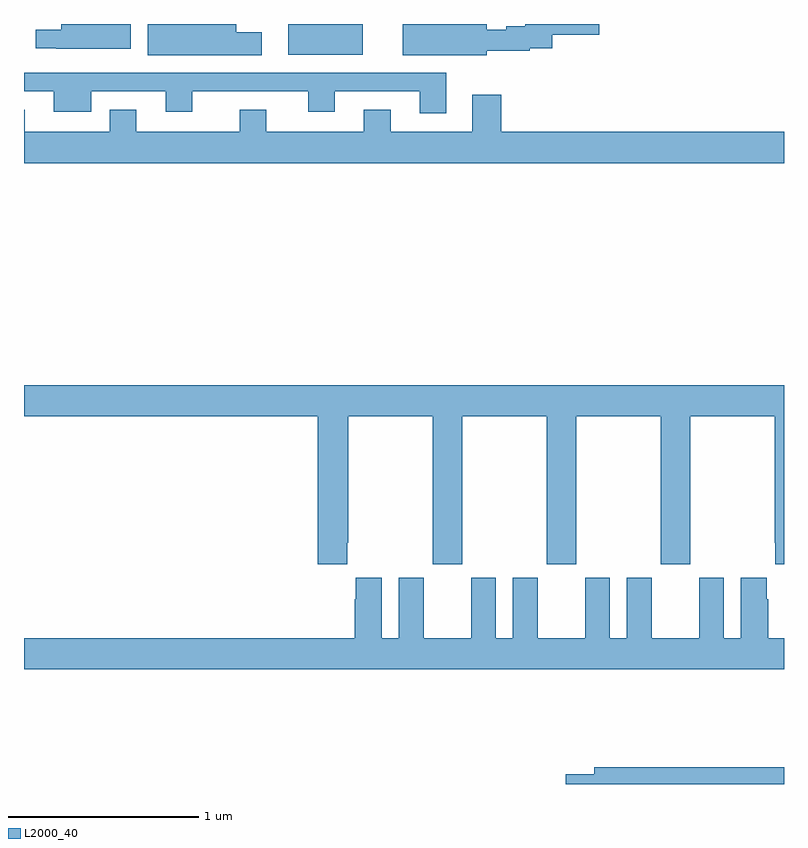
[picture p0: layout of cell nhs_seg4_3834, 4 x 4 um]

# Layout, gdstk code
import gdstk
lib = gdstk.Library(unit=1e-6, precision=1e-09)
def R(c, l, rs):  # rectangles x0, y0, x1, y1
    for r in rs: c.add(gdstk.rectangle(r[:2], r[2:], *l))
def P(c, l, *ps):  # polygons
    for p in ps: c.add(gdstk.Polygon(p, *l))
L2000_40 = (2000, 40)

nhs_seg4_3834 = lib.new_cell('nhs_seg4_3834')
R(nhs_seg4_3834, L2000_40, [(314.39,782.738,314.782,782.9)])
P(nhs_seg4_3834, L2000_40, [(314.251,782.857),(314.116,782.857),(314.116,782.9),(313.652,782.9),(313.652,782.735),(314.251,782.735)],
  [(313.561,782.9),(313.196,782.9),(313.196,782.87),(313.063,782.87),(313.063,782.773),(313.171,782.773),(313.171,782.771),(313.561,782.771)],
  [(315.436,782.76),(315.662,782.76),(315.662,782.772),(315.779,782.772),(315.779,782.843),(316.027,782.843),(316.027,782.9),(315.638,782.9),(315.638,782.888),(315.537,782.888),(315.537,782.869),(315.436,782.869),(315.436,782.9),(314.993,782.9),(314.993,782.735),(315.436,782.735)],
  [(315.223,782.643),(313,782.643),(313,782.547),(313.157,782.547),(313.157,782.438),(313.354,782.438),(313.354,782.547),(313.745,782.547),(313.745,782.438),(313.885,782.438),(313.885,782.547),(314.495,782.547),(314.495,782.438),(314.635,782.438),(314.635,782.547),(315.083,782.547),(315.083,782.43),(315.223,782.43)],
  [(317,782.332),(315.512,782.332),(315.512,782.527),(315.359,782.527),(315.359,782.332),(314.929,782.332),(314.929,782.449),(314.789,782.449),(314.789,782.332),(314.275,782.332),(314.275,782.449),(314.135,782.449),(314.135,782.332),(313.591,782.332),(313.591,782.449),(313.451,782.449),(313.451,782.332),(313.003,782.332),(313.003,782.449),(313,782.449),(313,782.168),(317,782.168)],
  [(314.701,780.169),(314.706,780.169),(314.706,780.836),(315.151,780.836),(315.151,780.057),(315.306,780.057),(315.306,780.836),(315.751,780.836),(315.751,780.057),(315.906,780.057),(315.906,780.836),(316.351,780.836),(316.351,780.057),(316.506,780.057),(316.506,780.836),(316.951,780.836),(316.951,780.169),(316.955,780.169),(316.955,780.057),(317,780.057),(317,781),(313,781),(313,780.836),(314.546,780.836),(314.546,780.057),(314.701,780.057)],
  [(317,779.668),(316.916,779.668),(316.916,779.873),(316.909,779.873),(316.909,779.986),(316.772,779.986),(316.772,779.668),(316.684,779.668),(316.684,779.986),(316.553,779.986),(316.553,779.668),(316.303,779.668),(316.303,779.986),(316.172,779.986),(316.172,779.668),(316.084,779.668),(316.084,779.986),(315.953,779.986),(315.953,779.668),(315.703,779.668),(315.703,779.986),(315.572,779.986),(315.572,779.668),(315.484,779.668),(315.484,779.986),(315.353,779.986),(315.353,779.668),(315.103,779.668),(315.103,779.986),(314.972,779.986),(314.972,779.668),(314.884,779.668),(314.884,779.986),(314.747,779.986),(314.747,779.873),(314.741,779.873),(314.741,779.668),(313,779.668),(313,779.504),(317,779.504)],
  [(317,778.988),(316.001,778.988),(316.001,778.952),(315.852,778.952),(315.852,778.9),(317,778.9)])

lib.write_gds('nhs_seg4_3834.gds')
